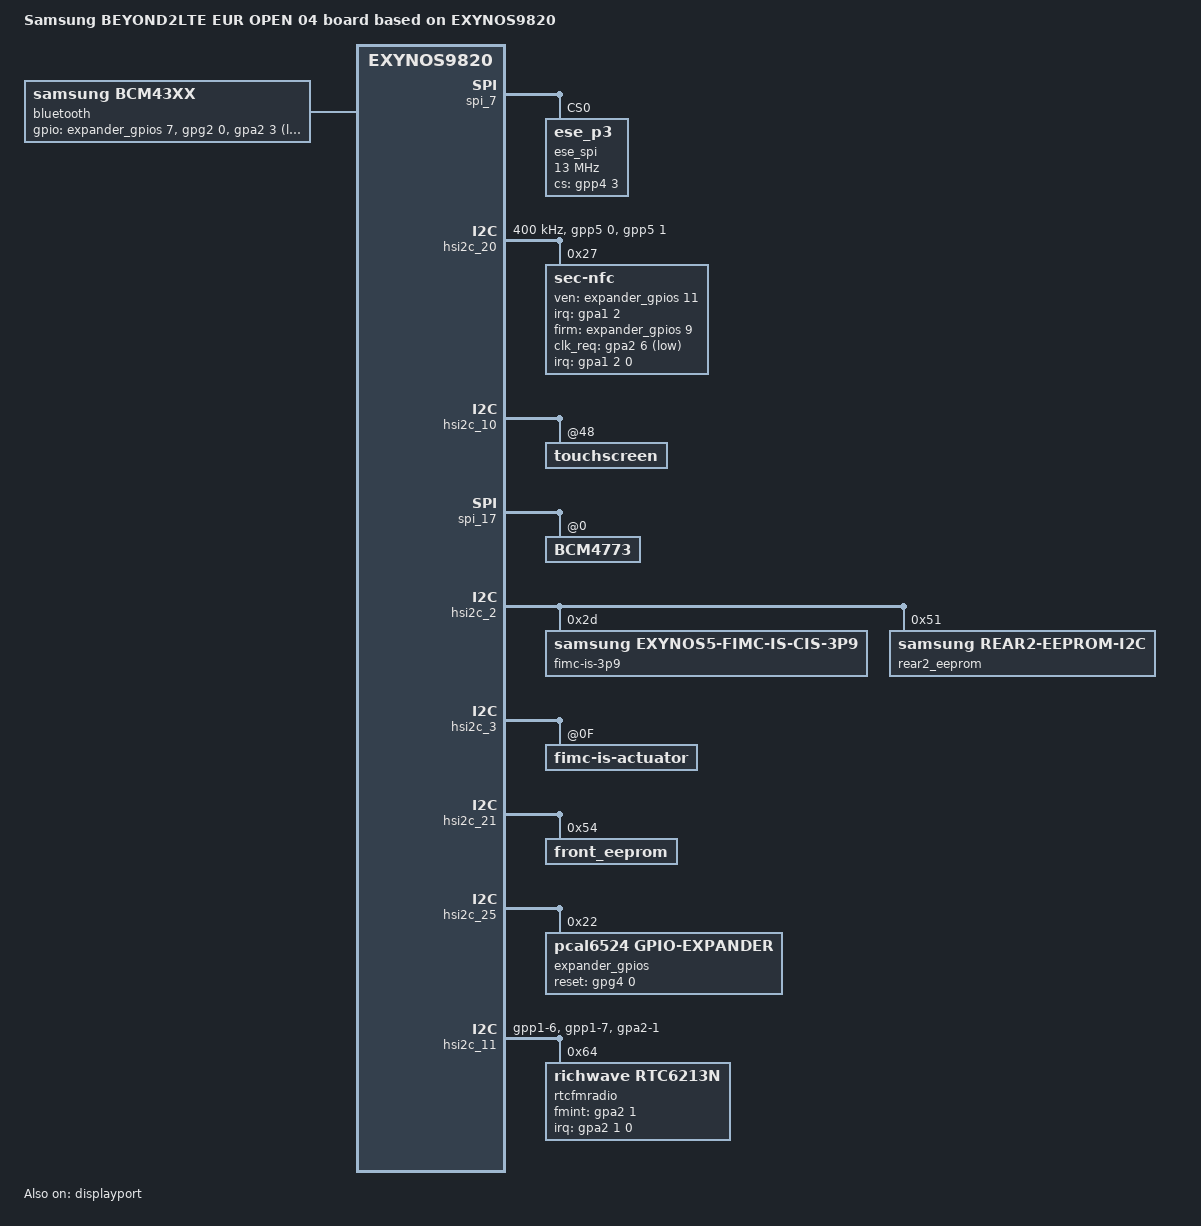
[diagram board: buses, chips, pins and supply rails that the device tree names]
/*
 * SAMSUNG EXYNOS9820 board device tree source
 *
 * Copyright (c) 2018 Samsung Electronics Co., Ltd.
 *		http://www.samsung.com
 *
 * This program is free software; you can redistribute it and/or modify
 * it under the terms of the GNU General Public License version 2 as
 * published by the Free Software Foundation.
*/

/dts-v1/;
/plugin/;
#include "exynos9820-sensorhub.dtsi"
#include "exynos9820-display-lcd.dtsi"
#include "battery_data_beyond2lte_18.dtsi"
#include "exynos9820-beyond2lte_if-pmic-max77705.dtsi"
#include <dt-bindings/clock/exynos9820.h>
#include <dt-bindings/pci/pci.h>
#include "exynos9820-bootargs_ext.dtsi"
#include "exynos9820-beyond2lte_camera.dtsi"
#include "exynos9820-beyond2lte_common.dtsi"
#include "exynos9820-beyond2lte_fingerprint_00.dtsi"
#include "exynos9820-beyond2lte_motor.dtsi"
#include "exynos9820-beyond2lte_optics-r03.dtsi"

/ {
	compatible = "samsung,BEYOND2LTE EUR OPEN 04", "samsung,EXYNOS9820";
	dtbo-hw_rev = <4>;
   	dtbo-hw_rev_end = <15>;

	fragment@model {
		target-path = "/";
		__overlay__ {
			#address-cells = <2>;
			#size-cells = <1>;

			model = "Samsung BEYOND2LTE EUR OPEN 04 board based on EXYNOS9820";
			pinctrl@15850000 {
				bt_hostwake: bt-hostwake {
					samsung,pins = "gpa2-3";
					samsung,pin-function = <0>;
					samsung,pin-pud = <0>;
				};
			};
			pinctrl@10430000 {
				bt_btwake: bt-btwake {
					samsung,pins = "gpg2-0";
					samsung,pin-function = <1>;
					samsung,pin-pud = <0>;
					samsung,pin-con-pdn = <3>;
					samsung,pin-pud-pdn = <0>;
				};
			};
			bluetooth {
				compatible = "samsung,bcm43xx";
				gpios = <&expander_gpios 7 0    /*BT_EN*/
				&gpg2 0 0    /*BT_WAKE*/
				&gpa2 3 0xF    /*BT_HOST_WAKE*/ >;
				pinctrl-names = "default";
				pinctrl-0=<&bt_hostwake &bt_btwake>;
				status = "okay";
			};

		}; /* end of __overlay__ */
	}; /* end of fragment */

	fragment@camera {
		target-path = "/";
		__overlay__ {
			/* Ultra Wide CAMERA */
			fimc_is_sensor_3p9: fimc-is_sensor_3p9@2D {
				power_seq_id = <1>;
			};
		}; /* end of __overlay__ */
	}; /* end of fragment */
}; /* end of root */

&pinctrl_0 {
	dp_hpd: dp_hpd {
		samsung,pins = "gpa2-7";
		samsung,pin-function = <2>;
		samsung,pin-pud = <0>;
		};
};

&displayport {
	status = "okay";
	dp,aux_sw_oe = <&expander_gpios 4 0>;
	dp,sbu_sw_sel = <&expander_gpios 1 0>;
	dp,usb_con_sel = <&gpg0 4 0>;

	pinctrl-names = "default";
	pinctrl-0 = <&dp_hpd>;
};

&pinctrl_6 {
	spi7_bus_suspend: spi7-bus-suspend {
		samsung,pins = "gpp4-2", "gpp4-1", "gpp4-0";
		samsung,pin-function = <0>;	/* INPUT */
		samsung,pin-pud = <1>;		/* DOWN */
		samsung,pin-drv = <0>;
	};
	spi7_cs_suspend: spi7-cs-suspend {
		samsung,pins = "gpp4-3";
		samsung,pin-function = <0>;	/* INPUT */
		samsung,pin-pud = <1>;		/* DOWN */
		samsung,pin-drv = <0>;
	};
};

/* SPI USI_PERIC1_USI06_SPI */
&spi_7 {
	status = "okay";
	/delete-property/ pinctrl-names;
	/delete-property/ pinctrl-0;
	pinctrl-names = "ese_active", "ese_suspend";
	pinctrl-0 = <&spi7_bus &spi7_cs>;
	pinctrl-1 = <&spi7_bus_suspend &spi7_cs_suspend>;

	ese_spi@0 {
		compatible = "ese_p3";
		reg = <0>;
		spi-max-frequency = <13000000>;
		gpio-controller;
		#gpio-cells = <2>;

		p3-vdd-1p8= "VDD_ESE_1P8";

		clocks = <&clock GATE_USI06_USI>, <&clock DOUT_CLK_PERIC1_USI06_USI>;
		clock-names = "pclk", "sclk";
		ese_p3,cs-gpio = <&gpp4 3 0>;

		controller-data {
			samsung,spi-feedback-delay = <0>;
			samsung,spi-chip-select-mode = <0>;
		};
	};
};

&hsi2c_20 {
	gpios = <&gpp5 0 0 &gpp5 1 0>;
	status = "okay";
	clock-frequency = <400000>;

	sec-nfc@27 {
		compatible = "sec-nfc";
		reg = <0x27>;

		interrupts = <2 0 0>;
		interrupt-parent = <&gpa1>;

		sec-nfc,ven-gpio = <&expander_gpios 11 0>;
		sec-nfc,irq-gpio = <&gpa1 2 0>;
		sec-nfc,firm-gpio = <&expander_gpios 9 0>;
		sec-nfc,clk_req-gpio = <&gpa2 6 0xf>;
		sec-nfc,clk_use = <2>;
		sec-nfc,nfc_pvdd = "VDD_NFC_1P8";

		clocks = <&clock OSC_NFC>;
		clock-names = "oscclk_nfc";
		sec-nfc,nfc_ap_clk;
		sec-nfc,ldo_control;
	};
};

&hsi2c_10 {
	touchscreen@48 {
		sec,project_name = "CROWN", "N960";
		sec,bringup = <1>;
	};
};

&spi_17 {
	BCM4773@0 {
		ssp-acc-position = <7>;
		ssp-mag-position = <7>;
		ssp-mag-array = /bits/ 8 <253 81 227 2 33 245 255 40 210 54 99 93 22 178 0 177 255 189 176 138 192
					252 206 156 13 155 175>;
		ssp-thermi-up = /bits/ 16 <2995 2964 2926 2883 2822 2750 2670 2564 2450 2320 2178 2020 1860 1700
					1540 1377 1218 1079 999 834 753 647 566>;
		ssp-thermi-sub = /bits/ 16 <2986 2953 2918 2873 2810 2741 2656 2552 2441 2312 2171 2015 1857 1698
					1537 1377 1217 1083 1003 845 758 654 575>;
	};
};

/* PERIC1 CAM1 */
&hsi2c_1 {
	status = "disabled";
};

/* PERIC1 CAM2 */
&hsi2c_2 {
	#address-cells = <1>;
	#size-cells = <0>;

	fimc-is-3p9@2D {
		compatible = "samsung,exynos5-fimc-is-cis-3p9";
		reg = <0x2D>; /* 1 bit right shift */
		id = <4>; /* matching fimc_is_sensor id */
		setfile = "setA";
		status = "okay";
	};

	rear2_eeprom@51 { /* Ultra wide eeprom */
		compatible = "samsung,rear2-eeprom-i2c";
		reg = <0x51>;

		rom_power_position = <4>;
		rom_size = <0x4000>;
		cal_map_es_version = <10>;
		camera_module_es_version = "A";
		/*skip_cal_loading;*/

		/* Beyond_Rear_Cal_Map_V010_20180709_for_ALL */
		/* 0 header */
		header_crc_check_list = <0x0000 0x00FB 0x00FC>;
		/* 0 master LSC */
		/* 1 master all */
		crc_check_list = <0x0100 0x1AFB 0x1AFC
							0x2200 0x22DF 0x22FC>;

		/* Master */
		rom_header_version_start_addr = <0x40>;
		rom_header_cal_data_start_addr = <0x100>;

		rom_header_cal_map_ver_start_addr = <0x50>;
		rom_header_isp_setfile_ver_start_addr = <0x54>;
		rom_header_project_name_start_addr = <0x5E>;

		rom_header_module_id_addr = <0xAE>; /* 0xA8 + reserved bytes */
		rom_header_sensor_id_addr = <0xB8>;

		rom_header_mtf_data_addr = <0x66>;

		rom_awb_master_addr = <0x2200>;
		rom_awb_module_addr = <0x2224>;
	};
};

&hsi2c_3 {
	fimc-is-actuator@0F {
		vendor_product_id = <0xF3 0x0E 0xF3 0x00>;
	};
};

&hsi2c_21 {
	#address-cells = <1>;
	#size-cells = <0>;

	front_eeprom@51 {
		reg = <0x54>;
		skip_cal_loading;
	};
};

&hsi2c_25 {
	status = "okay";
	expander_gpios: pcal6524@22 {
		compatible = "pcal6524,gpio-expander";
		gpio-controller;
		#gpio-cells = <2>;
		reg = <0x22>;
		pinctrl-names = "expander_reset_setting";
		pinctrl-0 = <&expander_reset_active>;
		pcal6524,gpio_start = <300>;
		pcal6524,ngpio = <24>;
		pcal6524,reset-gpio = <&gpg4 0 0>;
		pcal6524,support_initialize = <1>;
		/* config, 24 ~ 0, 1bit configure[1:input, 0:output]*/
		pcal6524,config = <0xFFFFFF>;    /* P2[11111111] P1[11111111] P0[11111111] */
		/* data_out, 24 ~ 0, 1bit configure[1:high, 0:low]*/
		pcal6524,data_out = <0x000000>;  /* P2[00000000] P1[00000000] P0[00000000] */
		/* pull_reg, 8 ~ 0, 2bit configure[00:no_pull, 01:pull_down, 10:pull_up, 11:not used] */
		pcal6524,pull_reg_p0 = <0x0000>; /* 00 00 00 00 / 00 00 00 00 */
		pcal6524,pull_reg_p1 = <0x0000>; /* 00 00 00 00 / 00 00 00 00 */
		pcal6524,pull_reg_p2 = <0x0000>; /* 00 00 00 00 / 00 00 00 00 */
	};
};

&pinctrl_0 {
	fm_int: fm-int {
		samsung,pins = "gpa2-1";
		samsung,pin-function = <0xf>;
		samsung,pin-pud = <0>;
		samsung,pin-con-pdn =<3>;
		samsung,pin-pud-pdn = <0>;
	};
};

&pinctrl_5 {
	hsi2c11_bus: hsi2c11-bus {
		samsung,pins = "gpp1-6", "gpp1-7";
		samsung,pin-function = <3>;
		samsung,pin-pud = <0>;
		samsung,pin-drv = <0>;
		samsung,pin-pud-pdn = <0>;
	};
};

&hsi2c_11 {
	status = "okay";
	pinctrl-names = "default";
	pinctrl-0 = <&hsi2c11_bus &fm_int>;

	rtcfmradio@64 {
		compatible = "richwave,rtc6213n", "rtc6213n";
		reg = <0x64>;
		interrupts = <1 0 0>;
		interrupt-parent = <&gpa2>;
		fmint-gpio = <&gpa2 1 0>;
		volume_db;
		radio_vol = <44 43 39 36 33 30 27 24 21 18 15 12 10 8 6 4>;
	};
};

&speedy {
	s2mps19mfd@00 {
		regulators {
			LDO29M {
				regulator-name = "vdd-fm-2p8";
				regulator-min-microvolt = <2800000>;
				regulator-max-microvolt = <2800000>;
				regulator-always-on;
				regulator-ramp-delay = <12000>;
				regulator-initial-mode = <3>;
			};
		};
	};
};
